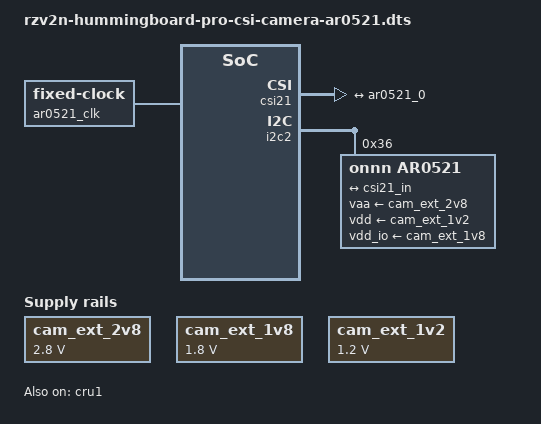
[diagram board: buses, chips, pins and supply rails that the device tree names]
// SPDX-License-Identifier: (GPL-2.0-only OR BSD-2-Clause)
/*
 * Device Tree Source for the RZ/V2N SolidRun HummingBoard-Pro
 *
 * Copyright (C) 2025 SolidRun Ltd.
 *
 * Overlay for enabling HummingBoard-Pro MIPI-CSI connector
 * with mipi-csi camera ar0521.
 */

/dts-v1/;
/plugin/;

#include <dt-bindings/gpio/gpio.h>
#include <dt-bindings/pinctrl/rzg2l-pinctrl.h>

&{/} {
    ar0521_clk: sensor_clk {
        compatible = "fixed-clock";
        #clock-cells = <0>;
        clock-frequency = <24000000>;
    };

	cam_ext_2v8: 2p8v {
		compatible = "regulator-fixed";
		regulator-name = "camera_ext_2v8";
		regulator-min-microvolt = <2800000>;
		regulator-max-microvolt = <2800000>;
		regulator-always-on;
	};

	cam_ext_1v8: 1p8v {
		compatible = "regulator-fixed";
		regulator-name = "camera_ext_1v8";
		regulator-min-microvolt = <1800000>;
		regulator-max-microvolt = <1800000>;
		regulator-always-on;
	};

	cam_ext_1v2: 1p2v {
		compatible = "regulator-fixed";
		regulator-name = "camera_ext_1v2";
		regulator-min-microvolt = <1200000>;
		regulator-max-microvolt = <1200000>;
		regulator-always-on;
	};
};

&cru1 {
	status = "okay";
};

&csi21 {
	status = "okay";
	ports {
		port {
			csi21_in: endpoint {
				remote-endpoint = <&ar0521_0>;
				bus-type = <4>;  /* MIPI CSI-2 D-PHY */
				clock-lanes = <0>;
				data-lanes = <1 2 3 4>;
			};
		};
	};
};

&i2c2 {
	#address-cells = <1>;
	#size-cells = <0>;

	ar0521: sensor@36 {
		compatible = "onnn,ar0521";
		reg = <0x36>;
		clocks = <&ar0521_clk>;
		clock-names = "extclk";
		vaa-supply = <&cam_ext_2v8>;
		vdd-supply = <&cam_ext_1v2>;
		vdd_io-supply = <&cam_ext_1v8>;

		port {
			ar0521_0: endpoint {
				remote-endpoint = <&csi21_in>;
				bus-type = <4>;  /* MIPI CSI-2 D-PHY */
				clock-lanes = <0>;
				data-lanes = <1 2 3 4>;
			};
		};
	};
};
